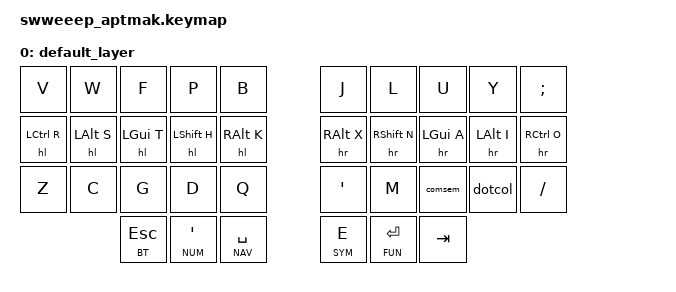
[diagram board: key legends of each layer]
#include "swweeep_common.dtsi"

// Aptmak base layer, built as the swweeep_left-aptmak firmware.

/ {
    keymap {
        compatible = "zmk,keymap";

    default_layer {
            bindings = <
    &kp V        &kp W       &kp F       &kp P        &kp B          &kp J       &kp L          &kp U       &kp Y       &kp SEMI
    &hl LCTRL R  &hl LALT S  &hl LGUI T  &hl LSHFT H  &hl RALT K     &hr RALT X  &hr RSHFT N    &hr LGUI A  &hr LALT I  &hr RCTRL O
    &kp Z        &kp C       &kp G       &kp D        &kp Q          &kp SQT     &kp M          &comsem     &dotcol     &kp FSLH
                             &lt BT ESC  &lt NUM SQT  &lt NAV SPACE  &lt SYM E   &lt FUN ENTER  &kp TAB
            >;
        };
    };
};

#include "swweeep_layers.dtsi"
